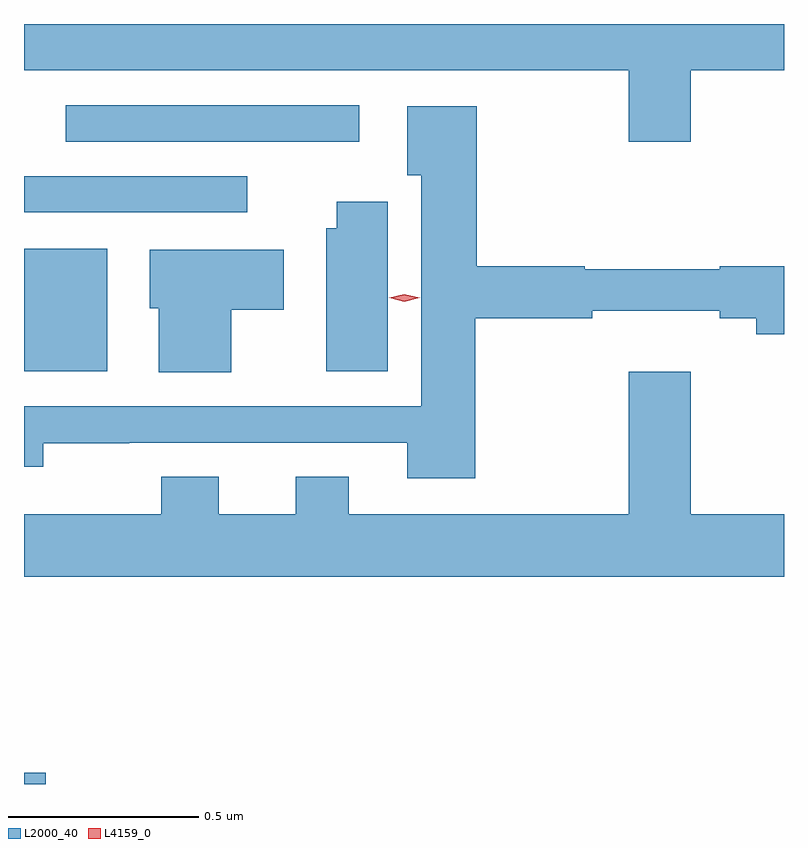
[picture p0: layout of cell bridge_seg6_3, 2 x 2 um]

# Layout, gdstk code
import gdstk
lib = gdstk.Library(unit=1e-6, precision=1e-09)
def R(c, l, rs):  # rectangles x0, y0, x1, y1
    for r in rs: c.add(gdstk.rectangle(r[:2], r[2:], *l))
def P(c, l, *ps):  # polygons
    for p in ps: c.add(gdstk.Polygon(p, *l))
L2000_40 = (2000, 40)
L4159_0 = (4159, 0)

bridge_seg6_3 = lib.new_cell('bridge_seg6_3')
R(bridge_seg6_3, L2000_40, [(930.649,958.778,930.706,958.808), (930.649,959.864,930.868,960.187), (930.649,960.282,931.237,960.378), (930.759,960.468,931.531,960.564)])
P(bridge_seg6_3, L2000_40, [(932.404,960.656),(932.649,960.656),(932.649,960.778),(930.649,960.778),(930.649,960.656),(932.24,960.656),(932.24,960.468),(932.404,960.468)],
  [(931.836,960.004),(932.144,960.004),(932.144,960.023),(932.48,960.023),(932.48,960.004),(932.576,960.004),(932.576,959.962),(932.649,959.962),(932.649,960.14),(932.48,960.14),(932.48,960.133),(932.124,960.133),(932.124,960.14),(931.841,960.14),(931.841,960.562),(931.658,960.562),(931.658,960.38),(931.694,960.38),(931.694,959.772),(930.649,959.772),(930.649,959.613),(930.699,959.613),(930.699,959.675),(930.926,959.675),(930.926,959.676),(931.658,959.676),(931.658,959.582),(931.836,959.582)],
  [(931.606,960.31),(931.472,960.31),(931.472,960.24),(931.445,960.24),(931.445,959.864),(931.606,959.864)],
  [(931.195,960.026),(931.333,960.026),(931.333,960.184),(930.98,960.184),(930.98,960.03),(931.004,960.03),(931.004,959.861),(931.195,959.861)],
  [(932.649,959.488),(932.404,959.488),(932.404,959.863),(932.24,959.863),(932.24,959.488),(931.504,959.488),(931.504,959.587),(931.364,959.587),(931.364,959.488),(931.162,959.488),(931.162,959.587),(931.01,959.587),(931.01,959.488),(930.649,959.488),(930.649,959.324),(932.649,959.324)])
P(bridge_seg6_3, L4159_0, [(931.65,960.047),(931.61,960.057),(931.61,960.058),(931.61,960.058),(931.65,960.067),(931.69,960.057),(931.69,960.057),(931.69,960.057)])

lib.write_gds('bridge_seg6_3.gds')
